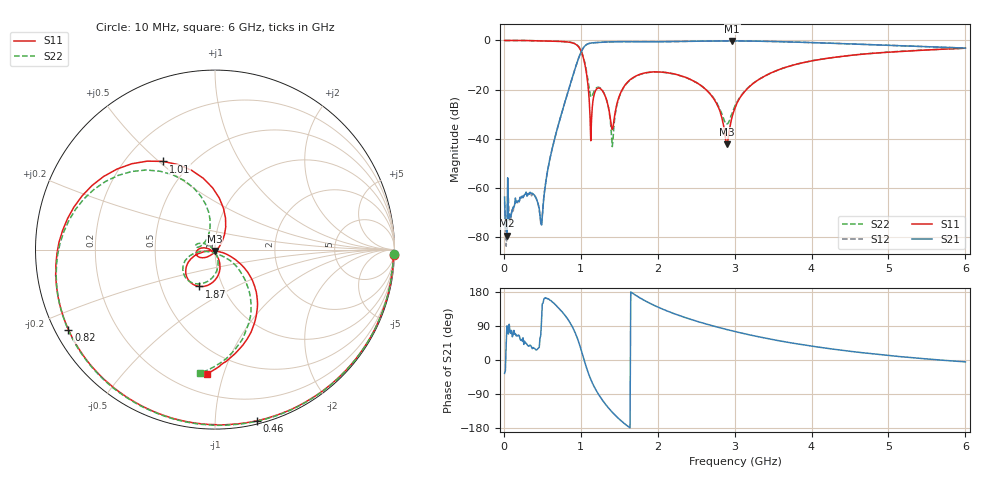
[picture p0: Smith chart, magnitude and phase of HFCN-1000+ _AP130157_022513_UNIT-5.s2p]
!Mini-Circuits Laboratory
!S-Parameters
!Model:HFCN-1000+
!Run/Lot/Date Code: CS0100//N/A
!DATA FOR: UNIT# 5
!Fixture/SN/Due: N/A
!Connection: PORT-1 - pin<1>; PORT-2 - pin<3>
!PORT EXTENSION IS DONE ON TEST BOARD(TB-270)
!Created: 02-25-2013 at 10:37 AM
# MHZ S DB R 50
!Frequency  S11 dB  S11 DEG  S21 dB  S21 DEG  S12 dB  S12 DEG  S22 dB  S22 DEG
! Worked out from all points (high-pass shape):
!   600 points, 10 MHz to 6 GHz, reference 50 ohm
!   highest |S21| = -0.23 dB at 2.97 GHz (marker M1); lowest = -79.5 dB at 40 MHz (marker M2)
!   |S21| within 3 dB of the highest: 1.03 GHz to end of sweep
!   lowest |S11| = -42.3 dB at 2.9 GHz (marker M3), VSWR 1.02, Z = 50 - j0.764 ohm
!   |S11| at or under -10 dB: 1.055 GHz to 3.769 GHz (2.714 GHz wide, 113 % of centre)
!   |S22| runs from -43.2 to 0.0 dB; largest |S21 - S12| = 0.0021
!   S11 on the Smith chart (normalised r, x): 10 MHz: 12, -69; 460 MHz: 0.02, -1.28; 820 MHz: 0.04, -0.26; 1.01 GHz: 0.35, +0.52; 1.87 GHz: 0.78, -0.34; 6 GHz: 0.33, -0.88
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10  -0.04 -1.6  -63.77 -35.1  -65.89 99.0  -0.04 -1.5
40  -0.04 -6.5  -79.45 90.3  -80.47 99.5  -0.05 -6.3
320  -0.09 -52.4  -62.48 36.4  -62.25 39.9  -0.08 -51.2
460  -0.16 -76.2  -68.30 33.4  -68.80 34.8  -0.14 -74.8
500  -0.19 -83.2  -71.67 148.1  -71.27 132.3  -0.16 -81.7
820  -0.62 -151.3  -22.38 111.0  -22.38 110.9  -0.58 -148.5
920  -1.35 172.9  -12.13 75.3  -12.13 75.3  -1.27 177.7
1010  -4.87 120.6  -4.33 23.3  -4.34 23.3  -4.64 130.9
1130  -40.86 -39.9  -1.10 -51.1  -1.10 -51.2  -22.86 133.0
1250  -19.55 -172.1  -0.81 -96.6  -0.81 -96.6  -19.30 164.7
1410  -36.28 -129.3  -0.58 -137.9  -0.58 -137.9  -43.24 -146.8
1560  -18.91 -76.1  -0.53 -166.6  -0.53 -166.6  -19.07 -83.8
1870  -13.04 -112.9  -0.58 152.6  -0.58 152.5  -13.10 -121.5
2010  -12.82 -125.8  -0.56 139.0  -0.56 138.9  -12.87 -134.2
2640  -20.45 -166.3  -0.29 94.4  -0.29 94.4  -20.38 -171.9
2900  -42.33 -92.1  -0.24 80.3  -0.23 80.3  -34.02 -104.8
2970  -30.83 -26.4  -0.23 76.9  -0.23 76.8  -29.50 -53.2
3010  -27.04 -21.7  -0.24 74.9  -0.24 74.8  -26.34 -44.0
3330  -15.64 -29.4  -0.35 60.5  -0.34 60.5  -15.64 -39.2
4010  -8.30 -52.0  -0.92 36.3  -0.91 36.3  -8.28 -58.6
5010  -4.79 -77.0  -2.02 11.7  -2.02 11.7  -4.74 -80.2
6000  -3.20 -93.7  -3.15 -5.0  -3.15 -5.0  -3.17 -97.0
